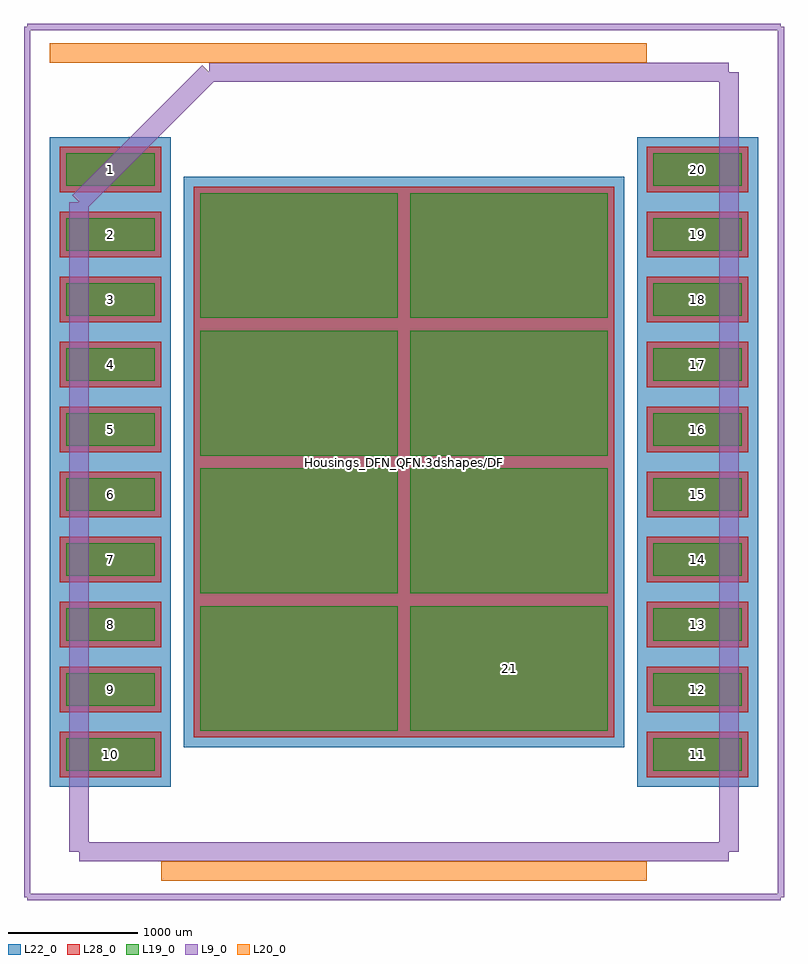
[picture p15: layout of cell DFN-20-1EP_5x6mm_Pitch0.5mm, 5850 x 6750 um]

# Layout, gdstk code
import gdstk
lib = gdstk.Library(unit=1e-6, precision=1e-09)
def R(c, l, rs):  # rectangles x0, y0, x1, y1
    for r in rs: c.add(gdstk.rectangle(r[:2], r[2:], *l))
def A(c, l, x, y, w, h, nx, ny, dx, dy):  # array of equal rectangles
    R(c, l, [(x+i*dx, y+j*dy, x+i*dx+w, y+j*dy+h) for i in range(nx) for j in range(ny)])
L9_0 = (9, 0)
L19_0 = (19, 0)
L20_0 = (20, 0)
L22_0 = (22, 0)
L28_0 = (28, 0)

dfn_20_1ep_5x6mm_pitch0_ = lib.new_cell('DFN-20-1EP_5x6mm_Pitch0.5mm')
A(dfn_20_1ep_5x6mm_pitch0_, L19_0, -2600, -2375, 680, 250, 1, 10, 0, 500)
A(dfn_20_1ep_5x6mm_pitch0_, L19_0, 1920, -2375, 680, 250, 1, 10, 0, 500)
A(dfn_20_1ep_5x6mm_pitch0_, L19_0, -1570, -2070, 1520, 960, 1, 4, 0, 1060)
A(dfn_20_1ep_5x6mm_pitch0_, L19_0, 50, -2070, 1520, 960, 1, 4, 0, 1060)
A(dfn_20_1ep_5x6mm_pitch0_, L22_0, -2725, -2500, 930, 500, 1, 10, 0, 500)
A(dfn_20_1ep_5x6mm_pitch0_, L22_0, 1795, -2500, 930, 500, 1, 10, 0, 500)
A(dfn_20_1ep_5x6mm_pitch0_, L22_0, -1695, -2195, 1770, 1210, 1, 4, 0, 1060)
A(dfn_20_1ep_5x6mm_pitch0_, L22_0, -75, -2195, 1770, 1210, 1, 4, 0, 1060)
A(dfn_20_1ep_5x6mm_pitch0_, L28_0, -2650, -2425, 780, 350, 1, 10, 0, 500)
A(dfn_20_1ep_5x6mm_pitch0_, L28_0, 1870, -2425, 780, 350, 1, 10, 0, 500)
A(dfn_20_1ep_5x6mm_pitch0_, L28_0, -1620, -2120, 1620, 1060, 1, 4, 0, 1060)
A(dfn_20_1ep_5x6mm_pitch0_, L28_0, 0, -2120, 1620, 1060, 1, 4, 0, 1060)
dfn_20_1ep_5x6mm_pitch0_.add(gdstk.FlexPath([(-2725,3150),(1870,3150)], 149.998, ends="flush", simple_path=True, layer=20, datatype=0))  # L20_0
dfn_20_1ep_5x6mm_pitch0_.add(gdstk.FlexPath([(-1870,-3150),(1870,-3150)], 149.998, ends="flush", simple_path=True, layer=20, datatype=0))  # L20_0
dfn_20_1ep_5x6mm_pitch0_.add(gdstk.FlexPath([(-2900,-3350),(2900,-3350)], 50, ends="flush", simple_path=True, layer=9, datatype=0))  # L9_0
dfn_20_1ep_5x6mm_pitch0_.add(gdstk.FlexPath([(-2900,3350),(2900,3350)], 50, ends="flush", simple_path=True, layer=9, datatype=0))  # L9_0
dfn_20_1ep_5x6mm_pitch0_.add(gdstk.FlexPath([(2900,3350),(2900,-3350)], 50, ends="flush", simple_path=True, layer=9, datatype=0))  # L9_0
dfn_20_1ep_5x6mm_pitch0_.add(gdstk.FlexPath([(-2900,3350),(-2900,-3350)], 50, ends="flush", simple_path=True, layer=9, datatype=0))  # L9_0
dfn_20_1ep_5x6mm_pitch0_.add(gdstk.FlexPath([(-2500,2000),(-1500,3000)], 149.998, ends="flush", simple_path=True, layer=9, datatype=0))  # L9_0
dfn_20_1ep_5x6mm_pitch0_.add(gdstk.FlexPath([(-2500,-3000),(-2500,2000)], 149.998, ends="flush", simple_path=True, layer=9, datatype=0))  # L9_0
dfn_20_1ep_5x6mm_pitch0_.add(gdstk.FlexPath([(2500,-3000),(-2500,-3000)], 149.998, ends="flush", simple_path=True, layer=9, datatype=0))  # L9_0
dfn_20_1ep_5x6mm_pitch0_.add(gdstk.FlexPath([(2500,3000),(2500,-3000)], 149.998, ends="flush", simple_path=True, layer=9, datatype=0))  # L9_0
dfn_20_1ep_5x6mm_pitch0_.add(gdstk.FlexPath([(-1500,3000),(2500,3000)], 149.998, ends="flush", simple_path=True, layer=9, datatype=0))  # L9_0
dfn_20_1ep_5x6mm_pitch0_.add(gdstk.Label('Housings_DFN_QFN.3dshapes/DFN-20-1EP_5x6mm_Pitch0.5mm.wrl', (0,0), layer=12, texttype=0))
dfn_20_1ep_5x6mm_pitch0_.add(gdstk.Label('21', (810,-1590), layer=28, texttype=0))
dfn_20_1ep_5x6mm_pitch0_.add(gdstk.Label('20', (2260,2250), layer=28, texttype=0))
dfn_20_1ep_5x6mm_pitch0_.add(gdstk.Label('19', (2260,1750), layer=28, texttype=0))
dfn_20_1ep_5x6mm_pitch0_.add(gdstk.Label('18', (2260,1250), layer=28, texttype=0))
dfn_20_1ep_5x6mm_pitch0_.add(gdstk.Label('17', (2260,750), layer=28, texttype=0))
dfn_20_1ep_5x6mm_pitch0_.add(gdstk.Label('16', (2260,250), layer=28, texttype=0))
dfn_20_1ep_5x6mm_pitch0_.add(gdstk.Label('15', (2260,-250), layer=28, texttype=0))
dfn_20_1ep_5x6mm_pitch0_.add(gdstk.Label('14', (2260,-750), layer=28, texttype=0))
dfn_20_1ep_5x6mm_pitch0_.add(gdstk.Label('13', (2260,-1250), layer=28, texttype=0))
dfn_20_1ep_5x6mm_pitch0_.add(gdstk.Label('12', (2260,-1750), layer=28, texttype=0))
dfn_20_1ep_5x6mm_pitch0_.add(gdstk.Label('11', (2260,-2250), layer=28, texttype=0))
dfn_20_1ep_5x6mm_pitch0_.add(gdstk.Label('10', (-2260,-2250), layer=28, texttype=0))
dfn_20_1ep_5x6mm_pitch0_.add(gdstk.Label('9', (-2260,-1750), layer=28, texttype=0))
dfn_20_1ep_5x6mm_pitch0_.add(gdstk.Label('8', (-2260,-1250), layer=28, texttype=0))
dfn_20_1ep_5x6mm_pitch0_.add(gdstk.Label('7', (-2260,-750), layer=28, texttype=0))
dfn_20_1ep_5x6mm_pitch0_.add(gdstk.Label('6', (-2260,-250), layer=28, texttype=0))
dfn_20_1ep_5x6mm_pitch0_.add(gdstk.Label('5', (-2260,250), layer=28, texttype=0))
dfn_20_1ep_5x6mm_pitch0_.add(gdstk.Label('4', (-2260,750), layer=28, texttype=0))
dfn_20_1ep_5x6mm_pitch0_.add(gdstk.Label('3', (-2260,1250), layer=28, texttype=0))
dfn_20_1ep_5x6mm_pitch0_.add(gdstk.Label('2', (-2260,1750), layer=28, texttype=0))
dfn_20_1ep_5x6mm_pitch0_.add(gdstk.Label('1', (-2260,2250), layer=28, texttype=0))
dfn_20_1ep_5x6mm_pitch0_.add(gdstk.Label('type', (0,-4075), layer=9, texttype=0))
dfn_20_1ep_5x6mm_pitch0_.add(gdstk.Label('devicename', (0,4075), layer=9, texttype=0))

lib.write_gds('DFN-20-1EP_5x6mm_Pitch0.5mm.gds')
